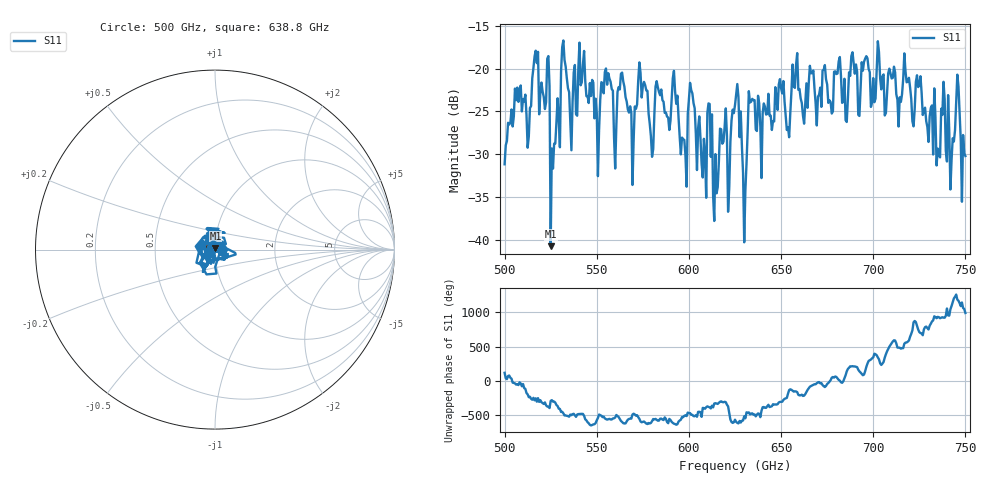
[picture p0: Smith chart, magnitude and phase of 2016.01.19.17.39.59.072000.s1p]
!Created with skrf (http://scikit-rf.org).
# GHz S RI R 50.0
!freq ReS11 ImS11
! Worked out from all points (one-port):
!   401 points, 500 GHz to 750 GHz, reference 50 ohm
!   lowest |S11| = -40.8 dB at 525 GHz (marker M1), VSWR 1.02, Z = 50.3 + j0.878 ohm
!   |S11| at or under -10 dB: start of sweep to end of sweep
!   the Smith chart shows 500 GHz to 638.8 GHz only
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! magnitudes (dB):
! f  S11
! 500 GHz  -31.2
! 506.9 GHz  -22.2
! 513.1 GHz  -27.9
! 516.9 GHz  -17.9
! 525 GHz  -40.8
! 526.2 GHz  -31.7
! 531.2 GHz  -17.5
! 550 GHz  -25.2
! 562.5 GHz  -22.4
! 568.8 GHz  -25.2
! 573.8 GHz  -20.5
! 579.4 GHz  -27.9
! 583.1 GHz  -22.2
! 593.8 GHz  -23.2
! 597.5 GHz  -28.3
! 601.9 GHz  -22.9
! 608.1 GHz  -28.2
! 611.2 GHz  -24.1
! 614.4 GHz  -30.0
! 625 GHz  -24.3
! 630 GHz  -40.3
! 633.8 GHz  -23.9
! 656.2 GHz  -19.5
! 687.5 GHz  -20.9
! 718.8 GHz  -21.5
! 735 GHz  -29.4
! 745.6 GHz  -20.7
! 750 GHz  -30.2
